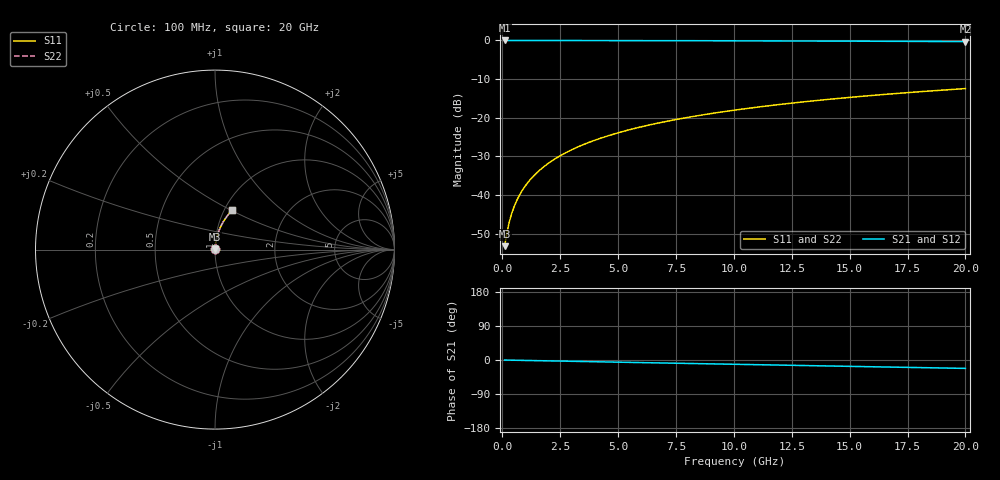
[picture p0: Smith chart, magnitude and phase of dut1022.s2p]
! Touchstone file exported from HFSS 2026.1.0
!  File:  C:/ffzhzh/LocalFiles/Ansys_Project_Files/temp_train_BSMRDL_1022_1783173464_22436.aedt
!  Generated:  09:58:56 PM Jul  4, 2026
!  Design:  BSMRDL
!  Project:  temp_train_BSMRDL_1022_1783173464_22436
! Variables:
!  h_bsmrdl = 3.24um
!  h_ox = 20um
!  h_rdl = 5um
!  h_sub = 80um
!  h_tmrdl = 5um
!  h_tsv = 80um
!  h_via = 3um
!  l_bsmrdl = 271.51um
!  l_sub = 671.51um
!  l_tmrdl = 200um
!  m_sub = 200um
!  pitch = 49.89um
!  r_tsv = 6um
!  s_tmrdl = 10um
!  w_bsmrdl = 20.44um
!  w_sub = 500um
!  w_tmrdl = 12um
!  x_tsv_center1 = 206um
!  x_tsv_center2 = 497.95um
!  x_tsv_center3 = 709.95um
!  x_tsv_center4 = 1001.9um
!  x_tsv_center5 = 1213.9um
!  x_tsv_center6 = 1505.85um
# GHz S MA R 50.000000
! Terminal data exported
! Port[1] = BSM_RDL1_1_T1
! Port[2] = BSM_RDL1_1_T2
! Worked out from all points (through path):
!   200 points, 100 MHz to 20 GHz, reference 50 ohm
!   highest |S21| = -0.01 dB at 100 MHz (marker M1); lowest = -0.3 dB at 20 GHz (marker M2)
!   group delay of S21, straight-line fit = 3.08 ps
!   lowest |S11| = -53.3 dB at 100 MHz (marker M3), VSWR 1.00, Z = 50.2 + j0.138 ohm
!   |S11| at or under -10 dB: start of sweep to end of sweep
!   |S22| runs from -53.3 to -12.5 dB; largest |S21 - S12| = 3.2e-15
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0.1  0.002172 39.3  0.9983 -0.1  0.9983 -0.1  0.002172 39.3
! Gamma 0 0 0 0
! Port Impedance 50 0 50 0
0.2  0.003239 57.4  0.9983 -0.2  0.9983 -0.2  0.003239 57.4
0.3  0.004441 65.7  0.9982 -0.4  0.9982 -0.4  0.004441 65.7
0.4  0.005672 70.3  0.9981 -0.5  0.9981 -0.5  0.005672 70.3
0.5  0.00691 73.3  0.9981 -0.6  0.9981 -0.6  0.00691 73.3
0.6  0.008152 75.4  0.998 -0.7  0.998 -0.7  0.008152 75.4
0.8  0.01065 78.1  0.9979 -0.9  0.9979 -0.9  0.01065 78.1
1.1  0.01441 80.4  0.9978 -1.3  0.9978 -1.3  0.01441 80.4
1.5  0.01947 81.9  0.9977 -1.7  0.9977 -1.7  0.01947 81.9
1.8  0.02327 82.5  0.9975 -2.1  0.9975 -2.1  0.02327 82.5
2.1  0.02708 82.8  0.9974 -2.4  0.9974 -2.4  0.02708 82.8
2.7  0.0347 83.0  0.9971 -3.1  0.9971 -3.1  0.0347 83.0
3.5  0.04483 82.8  0.9965 -4.0  0.9965 -4.0  0.04483 82.8
4.2  0.05365 82.3  0.9959 -4.8  0.9959 -4.8  0.05365 82.3
5  0.06369 81.7  0.9951 -5.7  0.9951 -5.7  0.06369 81.7
5.9  0.0749 80.9  0.9941 -6.7  0.9941 -6.7  0.0749 80.9
6.8  0.08602 80.0  0.9929 -7.8  0.9929 -7.8  0.08602 80.0
8.3  0.1044 78.5  0.9907 -9.4  0.9907 -9.4  0.1044 78.5
10.1  0.126 76.6  0.9877 -11.4  0.9877 -11.4  0.126 76.6
13.4  0.1647 73.2  0.9813 -15.1  0.9813 -15.1  0.1647 73.2
16.7  0.2021 69.7  0.9737 -18.6  0.9737 -18.6  0.2021 69.7
20  0.2379 66.4  0.9651 -22.1  0.9651 -22.1  0.2379 66.4
